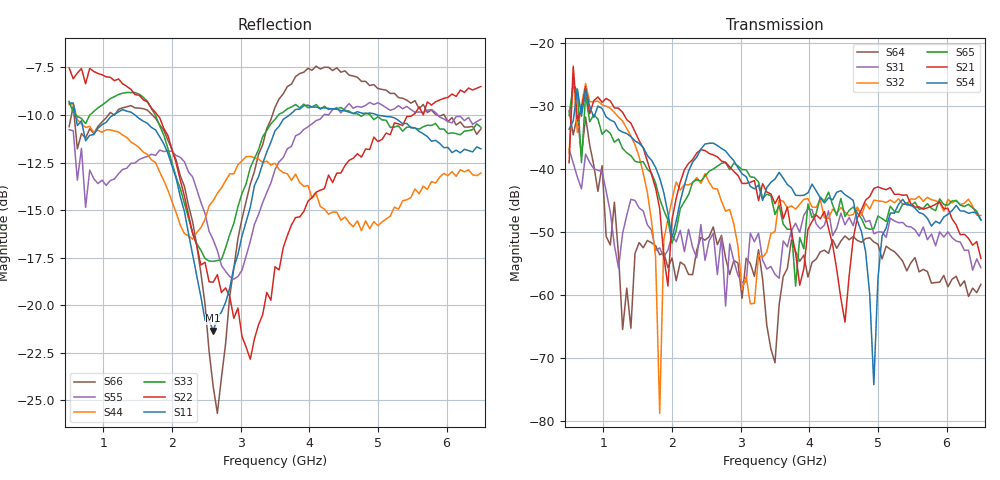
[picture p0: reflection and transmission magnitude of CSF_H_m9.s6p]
!Keysight Technologies,M9804A,MY58100912,A.14.10.03
!Date: Thursday, April 27, 2023 10:28:33
!Correction: S11(C  6-Port  )
!S12(C  6-Port  )
!S13(C  6-Port  )
!S14(C  6-Port  )
!S15(C  6-Port  )
!S16(C  6-Port  )
!S21(C  6-Port  )
!S22(C  6-Port  )
!S23(C  6-Port  )
!S24(C  6-Port  )
!S25(C  6-Port  )
!S26(C  6-Port  )
!S31(C  6-Port  )
!S32(C  6-Port  )
!S33(C  6-Port  )
!S34(C  6-Port  )
!S35(C  6-Port  )
!S36(C  6-Port  )
!S41(C  6-Port  )
!S42(C  6-Port  )
!S43(C  6-Port  )
!S44(C  6-Port  )
!S45(C  6-Port  )
!S46(C  6-Port  )
!S51(C  6-Port  )
!S52(C  6-Port  )
!S53(C  6-Port  )
!S54(C  6-Port  )
!S55(C  6-Port  )
!S56(C  6-Port  )
!S61(C  6-Port  )
!S62(C  6-Port  )
!S63(C  6-Port  )
!S64(C  6-Port  )
!S65(C  6-Port  )
!S66(C  6-Port  )
!S6P File: Measurement: :
# Hz S  RI  R 50
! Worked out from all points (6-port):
!   101 points, 500 MHz to 6.5 GHz, reference 50 ohm
!   strongest paths, dB at 500 MHz, 2 GHz, 3.5 GHz, 5 GHz, 6.5 GHz:
!     S54: -33.6, -50.9, -41.6, -57.5, -48.1
!     S21: -39.0, -48.0, -45.5, -42.8, -54.2
!     S65: -31.5, -51.8, -47.2, -47.5, -48.1
!     S32: -37.5, -44.9, -49.9, -45.1, -47.4
!     S31: -36.9, -50.5, -56.7, -50.0, -55.7
!     S64: -30.7, -54.1, -70.8, -52.0, -58.3
!   lowest |S11| = -21.4 dB at 2.6 GHz (marker M1), VSWR 1.19, Z = 42.4 + j2.29 ohm
!   |S11| at or under -10 dB: 591.8 MHz to 1.146 GHz (553.9 MHz wide, 63.8 % of centre); 1.46 GHz to 3.71 GHz (2.25 GHz wide, 87.1 % of centre); 4.987 GHz to end of sweep
